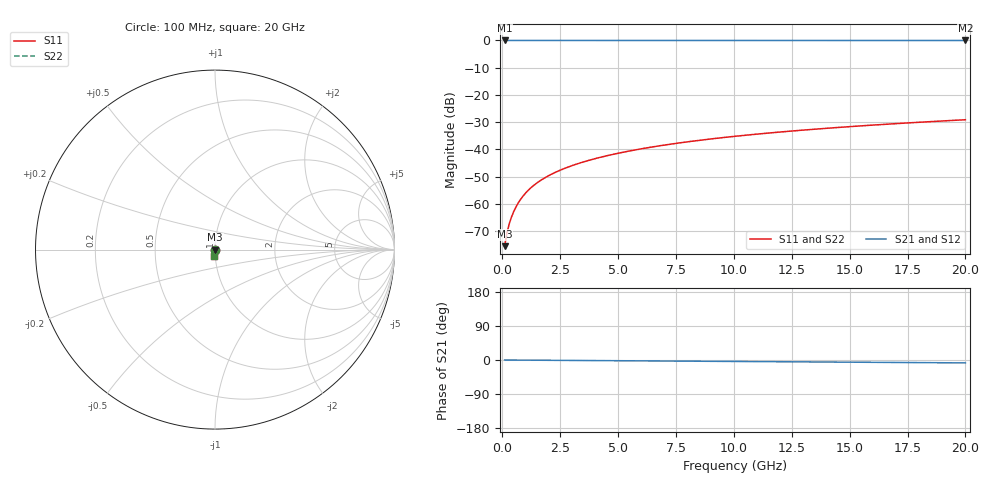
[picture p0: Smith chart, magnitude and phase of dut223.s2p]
! Touchstone file exported from HFSS 2026.1.0
!  File:  C:/ffzhzh/LocalFiles/Ansys_Project_Files/temp_train_TSV_223_1782992249_6248.aedt
!  Generated:  07:38:52 PM Jul  2, 2026
!  Design:  TSV
!  Project:  temp_train_TSV_223_1782992249_6248
! Variables:
!  h_bsmrdl = 2um
!  h_ox = 20um
!  h_rdl = 5um
!  h_sub = 76.07um
!  h_tmrdl = 5um
!  h_tsv = 76.07um
!  h_via = 3um
!  l_bsmrdl = 300um
!  l_sub = 423.24um
!  l_tmrdl = 200um
!  m_sub = 200um
!  pitch = 36.6um
!  r_tsv = 11.62um
!  s_tmrdl = 10um
!  w_bsmrdl = 18um
!  w_sub = 500um
!  w_tmrdl = 12um
!  x_tsv_center1 = 206um
!  x_tsv_center2 = 524um
!  x_tsv_center3 = 736um
!  x_tsv_center4 = 1054um
!  x_tsv_center5 = 1266um
!  x_tsv_center6 = 1584um
# GHz S MA R 50.000000
! Terminal data exported
! Port[1] = TSV1_1_T1
! Port[2] = TSV1_1_T2
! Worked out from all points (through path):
!   200 points, 100 MHz to 20 GHz, reference 50 ohm
!   highest |S21| = 0.00 dB at 100 MHz (marker M1); lowest = 0.0 dB at 20 GHz (marker M2)
!   group delay of S21, straight-line fit = 1.06 ps
!   lowest |S11| = -75.6 dB at 100 MHz (marker M3), VSWR 1.00, Z = 50 - j0.013 ohm
!   |S11| at or under -10 dB: start of sweep to end of sweep
!   |S22| runs from -75.6 to -29.1 dB; largest |S21 - S12| = 4e-15
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0.1  0.0001665 -51.6  0.9999 -0.0  0.9999 -0.0  0.0001665 -51.6
! Gamma 0 0 0 0
! Port Impedance 50 0 50 0
0.2  0.0002893 -66.1  0.9999 -0.1  0.9999 -0.1  0.0002893 -66.1
0.3  0.0004273 -71.3  0.9999 -0.1  0.9999 -0.1  0.0004273 -71.3
0.4  0.0005749 -73.8  0.9998 -0.2  0.9998 -0.2  0.0005749 -73.8
0.5  0.0007298 -75.3  0.9998 -0.2  0.9998 -0.2  0.0007299 -75.3
0.7  0.001055 -77.4  0.9998 -0.3  0.9998 -0.3  0.001055 -77.4
0.8  0.001222 -78.3  0.9997 -0.3  0.9997 -0.3  0.001222 -78.3
1  0.001562 -79.7  0.9997 -0.4  0.9997 -0.4  0.001562 -79.7
1.2  0.001905 -80.9  0.9997 -0.5  0.9997 -0.5  0.001905 -80.9
1.4  0.002249 -81.8  0.9997 -0.5  0.9997 -0.5  0.002249 -81.8
1.7  0.002764 -83.0  0.9996 -0.7  0.9996 -0.7  0.002764 -83.0
2  0.00328 -83.9  0.9996 -0.8  0.9996 -0.8  0.00328 -83.9
2.7  0.004484 -85.4  0.9995 -1.0  0.9995 -1.0  0.004484 -85.4
3.5  0.005864 -86.5  0.9995 -1.4  0.9995 -1.4  0.005864 -86.5
4.2  0.007078 -87.2  0.9994 -1.6  0.9994 -1.6  0.007078 -87.2
5  0.008471 -87.9  0.9994 -1.9  0.9994 -1.9  0.008471 -87.9
6.8  0.01163 -89.1  0.9992 -2.6  0.9992 -2.6  0.01163 -89.1
8.3  0.01427 -90.0  0.9991 -3.2  0.9991 -3.2  0.01427 -90.0
10.1  0.01745 -91.0  0.999 -3.9  0.999 -3.9  0.01745 -91.0
13.4  0.02328 -92.7  0.9987 -5.1  0.9987 -5.1  0.02328 -92.7
16.7  0.02913 -94.2  0.9985 -6.4  0.9985 -6.4  0.02913 -94.2
20  0.03497 -95.6  0.9982 -7.6  0.9982 -7.6  0.03497 -95.6
